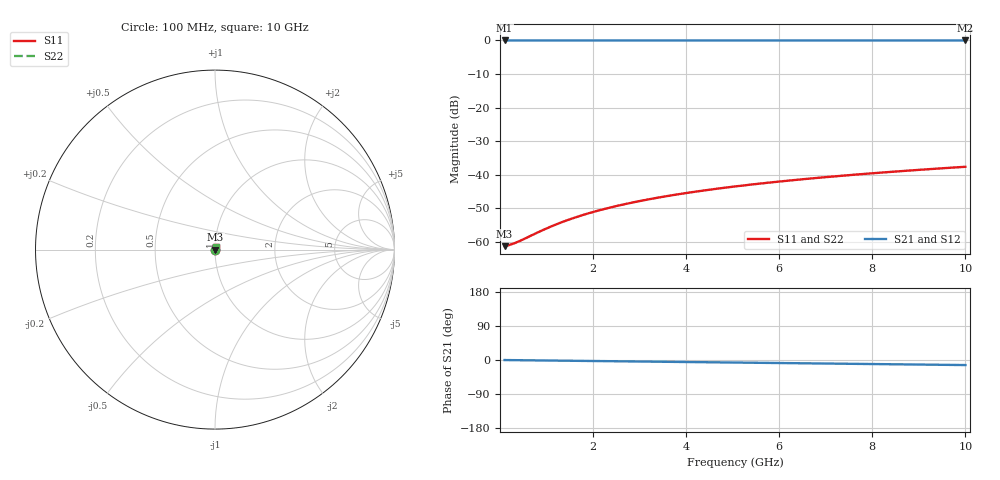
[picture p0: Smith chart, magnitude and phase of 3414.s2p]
# Hz S RI R 50.00
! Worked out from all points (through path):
!   100 points, 100 MHz to 10 GHz, reference 50 ohm
!   highest |S21| = -0.01 dB at 100 MHz (marker M1); lowest = 0.0 dB at 10 GHz (marker M2)
!   group delay of S21, straight-line fit = 3.71 ps
!   lowest |S11| = -61.2 dB at 100 MHz (marker M3), VSWR 1.00, Z = 50.1 + j0.0131 ohm
!   |S11| at or under -10 dB: start of sweep to end of sweep
!   |S22| runs from -61.2 to -37.6 dB; largest |S21 - S12| = 0
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1e8  0.000859 0.000131  0.9991 -0.00231  0.9991 -0.00231  0.000859 0.000131
2e8  0.000864 0.000262  0.9991 -0.00462  0.9991 -0.00462  0.000864 0.000262
3e8  0.000869 0.000394  0.9991 -0.00693  0.9991 -0.00693  0.000869 0.000394
4e8  0.000874 0.000525  0.9991 -0.00925  0.9991 -0.00925  0.000874 0.000525
9e8  0.000901 0.00118  0.9989 -0.0208  0.9989 -0.0208  0.000901 0.00118
1.2e9  0.000922 0.00157  0.9987 -0.0277  0.9987 -0.0277  0.000922 0.00157
1.5e9  0.000949 0.00196  0.9985 -0.0347  0.9985 -0.0347  0.000949 0.00196
1.8e9  0.00098 0.00235  0.9982 -0.0416  0.9982 -0.0416  0.00098 0.00235
2.1e9  0.00102 0.00274  0.9979 -0.0486  0.9979 -0.0486  0.00102 0.00274
2.5e9  0.00107 0.00326  0.9974 -0.0578  0.9974 -0.0578  0.00107 0.00326
2.9e9  0.00114 0.00377  0.9968 -0.0671  0.9968 -0.0671  0.00114 0.00377
3.4e9  0.00123 0.00442  0.9959 -0.0786  0.9959 -0.0786  0.00123 0.00442
3.8e9  0.00132 0.00493  0.9952 -0.0879  0.9952 -0.0879  0.00132 0.00493
4.2e9  0.00142 0.00544  0.9943 -0.0971  0.9943 -0.0971  0.00142 0.00544
4.6e9  0.00152 0.00594  0.9933 -0.1064  0.9933 -0.1064  0.00152 0.00594
5.1e9  0.00167 0.00657  0.992 -0.1179  0.992 -0.1179  0.00167 0.00657
5.9e9  0.00193 0.00757  0.9896 -0.1364  0.9896 -0.1364  0.00193 0.00757
6.7e9  0.00224 0.00857  0.9869 -0.1549  0.9869 -0.1549  0.00224 0.00857
7.5e9  0.00258 0.00955  0.9838 -0.1733  0.9838 -0.1733  0.00258 0.00955
8.4e9  0.00301 0.0107  0.9799 -0.194  0.9799 -0.194  0.00301 0.0107
9.2e9  0.00343 0.0116  0.976 -0.2124  0.976 -0.2124  0.00343 0.0116
1e10  0.00389 0.0126  0.9718 -0.2307  0.9718 -0.2307  0.00389 0.0126
